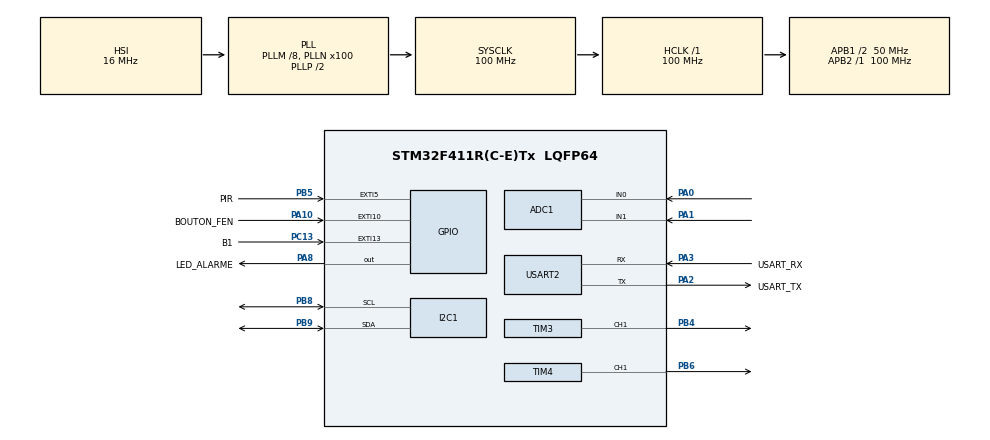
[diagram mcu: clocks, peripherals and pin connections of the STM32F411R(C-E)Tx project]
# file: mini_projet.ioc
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ADC1.Channel-0\#ChannelRegularConversion=ADC_CHANNEL_0
ADC1.Channel-1\#ChannelRegularConversion=ADC_CHANNEL_1
ADC1.NbrOfConversion=2
ADC1.NbrOfConversionFlag=1
ADC1.Rank-0\#ChannelRegularConversion=1
ADC1.Rank-1\#ChannelRegularConversion=2
ADC1.SamplingTime-0\#ChannelRegularConversion=ADC_SAMPLETIME_480CYCLES
ADC1.SamplingTime-1\#ChannelRegularConversion=ADC_SAMPLETIME_480CYCLES
ADC1.master=1
Mcu.Family=STM32F4
Mcu.Name=STM32F411R(C-E)Tx
Mcu.Package=LQFP64
NVIC.EXTI15_10_IRQn=true\:0\:0\:false\:false\:true\:true\:true\:true
NVIC.EXTI9_5_IRQn=true\:0\:0\:false\:false\:true\:true\:true\:true
NVIC.PriorityGroup=NVIC_PRIORITYGROUP_0
NVIC.TIM1_TRG_COM_TIM11_IRQn=true\:0\:0\:false\:false\:true\:true\:true\:true
NVIC.TIM1_UP_TIM10_IRQn=true\:0\:0\:false\:false\:true\:true\:true\:true
PA0-WKUP.Signal=ADCx_IN0
PA1.Signal=ADCx_IN1
PA10.GPIO_Label=BOUTON_FEN
PA10.GPIO_PuPd=GPIO_PULLDOWN
PA10.Signal=GPXTI10
PA13.GPIO_Label=TMS
PA13.Mode=Serial_Wire
PA13.Signal=SYS_JTMS-SWDIO
PA14.GPIO_Label=TCK
PA14.Mode=Serial_Wire
PA14.Signal=SYS_JTCK-SWCLK
PA2.GPIO_Label=USART_TX
PA2.Mode=Asynchronous
PA2.Signal=USART2_TX
PA3.GPIO_Label=USART_RX
PA3.Mode=Asynchronous
PA3.Signal=USART2_RX
PA8.GPIO_Label=LED_ALARME
PA8.Signal=GPIO_Output
PB3.GPIO_Label=SWO
PB3.Signal=SYS_JTDO-SWO
PB4.Signal=S_TIM3_CH1
PB5.GPIO_Label=PIR
PB5.GPIO_ModeDefaultEXTI=GPIO_MODE_IT_RISING
PB5.GPIO_PuPd=GPIO_PULLDOWN
PB5.Signal=GPXTI5
PB6.Signal=S_TIM4_CH1
PB8.GPIO_Pu=GPIO_PULLUP
PB8.Mode=I2C
PB8.Signal=I2C1_SCL
PB9.GPIO_Pu=GPIO_PULLUP
PB9.Mode=I2C
PB9.Signal=I2C1_SDA
PC13-ANTI_TAMP.GPIO_Label=B1
PC13-ANTI_TAMP.GPIO_ModeDefaultEXTI=GPIO_MODE_IT_FALLING
PC13-ANTI_TAMP.Signal=GPXTI13
PC14-OSC32_IN.Signal=RCC_OSC32_IN
PC15-OSC32_OUT.Signal=RCC_OSC32_OUT
PH0\ -\ OSC_IN.Mode=HSE-External-Oscillator
PH0\ -\ OSC_IN.Signal=RCC_OSC_IN
PH1\ -\ OSC_OUT.Mode=HSE-External-Oscillator
PH1\ -\ OSC_OUT.Signal=RCC_OSC_OUT
ProjectManager.HeapSize=0x200
ProjectManager.StackSize=0x400
ProjectManager.TargetToolchain=STM32CubeIDE
RCC.48MHZClocksFreq_Value=50000000
RCC.AHBFreq_Value=100000000
RCC.APB1CLKDivider=RCC_HCLK_DIV2
RCC.APB1Freq_Value=50000000
RCC.APB1TimFreq_Value=100000000
RCC.APB2Freq_Value=100000000
RCC.APB2TimFreq_Value=100000000
RCC.CortexFreq_Value=100000000
RCC.FLatency-AdvancedSettings=FLASH_LATENCY_3
RCC.HCLKFreq_Value=100000000
RCC.HSE_VALUE=8000000
RCC.HSI_VALUE=16000000
RCC.LSE_VALUE=32768
RCC.PLLM=8
RCC.PLLN=100
RCC.SYSCLKFreq_VALUE=100000000
RCC.SYSCLKSource=RCC_SYSCLKSOURCE_PLLCLK
RCC.VCOOutputFreq_Value=200000000
SH.ADCx_IN0.0=ADC1_IN0,IN0
SH.ADCx_IN1.0=ADC1_IN1,IN1
SH.S_TIM3_CH1.0=TIM3_CH1,PWM Generation1 CH1
SH.S_TIM4_CH1.0=TIM4_CH1,PWM Generation1 CH1
TIM10.Period=2499
TIM10.Prescaler=9999
TIM11.Period=29999
TIM11.Prescaler=9999
TIM3.Channel-PWM\ Generation1\ CH1=TIM_CHANNEL_1
TIM3.Period=499
TIM3.Prescaler=99
TIM3.Pulse-PWM\ Generation1\ CH1=250
TIM4.Channel-PWM\ Generation1\ CH1=TIM_CHANNEL_1
TIM4.Period=19999
TIM4.Prescaler=99
TIM4.Pulse-PWM\ Generation1\ CH1=1500
USART2.VirtualMode=VM_ASYNC
VP_TIM10_VS_ClockSourceINT.Mode=Enable_Timer
VP_TIM11_VS_ClockSourceINT.Mode=Enable_Timer
VP_TIM3_VS_ClockSourceINT.Mode=Internal
VP_TIM4_VS_ClockSourceINT.Mode=Internal
board=NUCLEO-F411RE

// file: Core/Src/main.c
/* USER CODE BEGIN Header */
/**
 ******************************************************************************
 * @file           : main.c
 * @brief          : Main program body
 ******************************************************************************
 * @attention
 *
 * Copyright (c) 2026 STMicroelectronics.
 * All rights reserved.
 *
 * This software is licensed under terms that can be found in the LICENSE file
 * in the root directory of this software component.
 * If no LICENSE file comes with this software, it is provided AS-IS.
 *
 ******************************************************************************
 */
/* USER CODE END Header */
#include "main.h"
#include "adc.h"
#include "i2c.h"
#include "tim.h"
#include "usart.h"
#include "gpio.h"

/* USER CODE BEGIN Includes */

#include <string.h>    // pour strlen()
#include <stdio.h>

/* USER CODE END Includes */

/* USER CODE BEGIN PTD */
typedef enum { HOME, AWAY } Mode_t;
/* USER CODE END PTD */

/* USER CODE BEGIN PD */

#define SEUIL_GAZ_ON   1250   // au-dessus, on déclenche l'alarme gaz
#define SEUIL_GAZ_OFF  1050   // en dessous, l'alarme s'arrête

#define SEUIL_PLUIE  2000   // mesuré : environ 100 à sec, plus de 3600 mouillé
#define POS_OUVERTE  1500   // impulsion de 1,5 ms : fenêtre ouverte (trouvée en debug)
#define POS_FERMEE    500   // impulsion de 0,5 ms : fenêtre fermée

#define TMP102_ADR  (0x48 << 1)   // ADD0 est à la masse donc adresse 0x48, décalée d'un bit pour la HAL
#define REG_TEMP    0x00          // registre de température
#define REG_CONFIG  0x01          // registre de configuration

/* USER CODE END PD */

/* USER CODE BEGIN PV */

volatile Mode_t   mode = HOME;          // mode actuel de la maison
volatile uint8_t  boutonAppuye = 0;     // passe à 1 quand on appuie sur B1
volatile uint32_t dernierAppui = 0;     // instant du dernier appui, pour l'anti-rebond
volatile uint8_t mouvement = 0;   // passe à 1 quand le PIR détecte quelqu'un
volatile uint8_t alarme = 0;      // alarme intrusion en cours

volatile uint8_t mesureGaz = 0;   // TIM11 le met à 1 toutes les 3 s
uint16_t valeurGaz = 0;           // valeur brute de l'ADC, de 0 à 4095
volatile uint8_t alarmeGaz = 0;   // alarme gaz en cours

volatile uint8_t boutonFenetre = 0;     // passe à 1 quand on appuie sur le bouton fenêtre
volatile uint32_t dernierAppuiFen = 0;  // même anti-rebond que pour B1
uint16_t valeurPluie = 0;               // valeur brute du capteur de pluie
uint8_t pluie = 0;                      // 1 tant qu'il pleut
uint8_t fenetreOuverte = 0;             // état actuel de la fenêtre

float temperature = 0;            // dernière température lue, en degrés

/* USER CODE END PV */

void SystemClock_Config(void);

/* USER CODE BEGIN 0 */
void envoyer(char *texte)       // envoie un texte au PC par l'UART2
{
	HAL_UART_Transmit(&huart2, (uint8_t*)texte, strlen(texte), 100);
}
/* ouvre la fenêtre : on change juste la largeur d'impulsion du servo */
void ouvrirFenetre(void)
{
	__HAL_TIM_SET_COMPARE(&htim4, TIM_CHANNEL_1, POS_OUVERTE); // écrit la valeur dans CCR1 de TIM4
	fenetreOuverte = 1;
	envoyer("WINDOW OPEN\r\n");
}
/* ferme la fenêtre */
void fermerFenetre(void)
{
	__HAL_TIM_SET_COMPARE(&htim4, TIM_CHANNEL_1, POS_FERMEE);
	fenetreOuverte = 0;
	envoyer("WINDOW CLOSED\r\n");
}

/* Driver du TMP102, écrit à partir de la datasheet TI (SBOS397) */

void tmp102_init(void)            // met le capteur en veille (bit SD à 1) : 0x60A0 devient 0x61A0
{
	uint8_t trame[3] = {REG_CONFIG, 0x61, 0xA0};
	HAL_I2C_Master_Transmit(&hi2c1, TMP102_ADR, trame, 3, 100);
}

void tmp102_mesurer(void)         // demande une seule mesure (bit OS à 1) : 0xE1A0
{
	uint8_t trame[3] = {REG_CONFIG, 0xE1, 0xA0};
	HAL_I2C_Master_Transmit(&hi2c1, TMP102_ADR, trame, 3, 100);
}

int16_t tmp102_lire(void)         // lit les 2 octets du registre de température
{
	uint8_t pointeur = REG_TEMP;
	uint8_t octets[2] = {0, 0};
	HAL_I2C_Master_Transmit(&hi2c1, TMP102_ADR, &pointeur, 1, 100);  // on pointe d'abord sur le registre de température
	HAL_I2C_Master_Receive(&hi2c1, TMP102_ADR, octets, 2, 100);      // puis on lit l'octet de poids fort et celui de poids faible
	return (int16_t)((octets[0] << 8) | octets[1]) >> 4;             // on garde les 12 bits utiles, le signe est conservé
}

float tmp102_convertir(int16_t brut)
{
	return brut * 0.0625f;          // 1 bit = 0,0625 °C ; le f évite un calcul en double
}

/* USER CODE END 0 */

int main(void)
{

	/* MCU Configuration--------------------------------------------------------*/

	/* Reset of all peripherals, Initializes the Flash interface and the Systick. */
	HAL_Init();

	/* Configure the system clock */
	SystemClock_Config();

	/* Initialize all configured peripherals */
	MX_GPIO_Init();
	MX_USART2_UART_Init();
	MX_TIM11_Init();
	MX_TIM3_Init();
	MX_TIM10_Init();
	MX_ADC1_Init();
	MX_TIM4_Init();
	MX_I2C1_Init();
	/* USER CODE BEGIN 2 */

	// TIM11 : une interruption toutes les 3 s pour lancer les mesures
	// (PSC 9999 donne 10 kHz, ARR 29999 donne 30 000 tops, soit 3 s)
	HAL_TIM_Base_Start_IT(&htim11);
	HAL_TIM_Base_Start_IT(&htim10);   // TIM10 : rythme du clignotement de la LED, toutes les 250 ms

	HAL_TIM_PWM_Start(&htim4, TIM_CHANNEL_1);   // la PWM du servo tourne en continu
	fermerFenetre();   // on démarre toujours fenêtre fermée

	if (HAL_I2C_IsDeviceReady(&hi2c1, TMP102_ADR, 3, 100) == HAL_OK)   // on vérifie que le TMP102 répond
		envoyer("TMP102 OK\r\n");
	else
		envoyer("TMP102 absent !\r\n");
	tmp102_init();
	tmp102_mesurer();                 // première mesure, lue au premier passage de TIM11

	envoyer("\r\n=== Smart Home STM32 - Bienvenue ===\r\n");
	envoyer("Mode HOME\r\n");

	/* USER CODE END 2 */

	/* Infinite loop */
	while (1)
	{

		/* USER CODE BEGIN 3 */
		if (boutonAppuye == 1)
		{
			boutonAppuye = 0;

			if (mode == HOME)
			{
				mode = AWAY;
				envoyer("Mode AWAY\r\n");
				if (fenetreOuverte == 1) fermerFenetre();   // en AWAY, la fenêtre doit rester fermée
			}
			else
			{
				mode = HOME;
				alarme = 0;      // le retour en HOME coupe l'alarme intrusion
				if (alarmeGaz == 0)   // buzzer et LED sont communs : on ne les coupe que s'il n'y a pas d'alarme gaz
				{
					HAL_TIM_PWM_Stop(&htim3, TIM_CHANNEL_1);
					HAL_GPIO_WritePin(LED_ALARME_GPIO_Port, LED_ALARME_Pin, GPIO_PIN_RESET);
				}

				envoyer("Mode HOME\r\n");
			}
		}

		if (mouvement == 1)   // le PIR a détecté quelqu'un
		{
			mouvement = 0;

			if (mode == AWAY && alarme == 0)   // l'alarme ne part qu'en AWAY, et une seule fois
			{
				alarme = 1;
				HAL_TIM_PWM_Start(&htim3, TIM_CHANNEL_1);   // le buzzer se met à sonner
				envoyer("INTRUSION\r\n");
			}
		}

		if (boutonFenetre == 1)   // bloqué en AWAY ou s'il pleut, sinon il ouvre ou ferme
		{
			boutonFenetre = 0;
			if (mode == AWAY || pluie == 1)
				envoyer("Fenetre bloquee\r\n");
			else if (fenetreOuverte == 1)
				fermerFenetre();
			else
				ouvrirFenetre();
		}

		if (mesureGaz == 1)   // toutes les 3 s : gaz, pluie et température
		{
			mesureGaz = 0;

			HAL_ADC_Start(&hadc1);
			HAL_ADC_PollForConversion(&hadc1, 10);
			valeurGaz = HAL_ADC_GetValue(&hadc1);     // rang 1 : capteur de gaz
			HAL_ADC_PollForConversion(&hadc1, 10);
			valeurPluie = HAL_ADC_GetValue(&hadc1);   // rang 2 : capteur de pluie
			HAL_ADC_Stop(&hadc1);
			char texte[50];   // texte envoyé sur l'UART
			sprintf(texte, "Gaz = %u  Pluie = %u\r\n", valeurGaz, valeurPluie);
			envoyer(texte);

			if (valeurPluie > SEUIL_PLUIE && pluie == 0)   // il commence à pleuvoir : on ferme
			{
				pluie = 1;
				envoyer("RAIN\r\n");
				if (fenetreOuverte == 1) fermerFenetre();
			}
			else if (valeurPluie < SEUIL_PLUIE && pluie == 1)   // fin de la pluie : on débloque sans rouvrir
			{
				pluie = 0;
				envoyer("Plus de pluie\r\n");
			}

			temperature = tmp102_convertir(tmp102_lire());  // on lit la mesure lancée il y a 3 s
			tmp102_mesurer();                               // et on relance la suivante
			int t10 = (int)(temperature * 10);              // sprintf ne gère pas %f : 23,5 °C devient 235
			sprintf(texte, "Temp = %d.%d C\r\n", t10 / 10, t10 % 10);
			envoyer(texte);

			if (valeurGaz > SEUIL_GAZ_ON && alarmeGaz == 0)   // surveillé dans les deux modes
			{
				alarmeGaz = 1;
				HAL_TIM_PWM_Start(&htim3, TIM_CHANNEL_1);   // même buzzer pour les deux alarmes
				envoyer("GAS ALERT\r\n");
			}
			else if (valeurGaz < SEUIL_GAZ_OFF && alarmeGaz == 1)
			{
				alarmeGaz = 0;
				if (alarme == 0)   // plus aucune alarme : on coupe tout
				{
					HAL_TIM_PWM_Stop(&htim3, TIM_CHANNEL_1);
					HAL_GPIO_WritePin(LED_ALARME_GPIO_Port, LED_ALARME_Pin, GPIO_PIN_RESET);
				}
				envoyer("Gaz normal\r\n");
			}
		}

	}
	/* USER CODE END 3 */
}

void SystemClock_Config(void)
{
	RCC_OscInitTypeDef RCC_OscInitStruct = {0};
	RCC_ClkInitTypeDef RCC_ClkInitStruct = {0};

	/** Configure the main internal regulator output voltage
	 */
	__HAL_RCC_PWR_CLK_ENABLE();
	__HAL_PWR_VOLTAGESCALING_CONFIG(PWR_REGULATOR_VOLTAGE_SCALE1);

	/** Initializes the RCC Oscillators according to the specified parameters
	 * in the RCC_OscInitTypeDef structure.
	 */
	RCC_OscInitStruct.OscillatorType = RCC_OSCILLATORTYPE_HSI;
	RCC_OscInitStruct.HSIState = RCC_HSI_ON;
	RCC_OscInitStruct.HSICalibrationValue = RCC_HSICALIBRATION_DEFAULT;
	RCC_OscInitStruct.PLL.PLLState = RCC_PLL_ON;
	RCC_OscInitStruct.PLL.PLLSource = RCC_PLLSOURCE_HSI;
	RCC_OscInitStruct.PLL.PLLM = 8;
	RCC_OscInitStruct.PLL.PLLN = 100;
	RCC_OscInitStruct.PLL.PLLP = RCC_PLLP_DIV2;
	RCC_OscInitStruct.PLL.PLLQ = 4;
	if (HAL_RCC_OscConfig(&RCC_OscInitStruct) != HAL_OK)
	{
		Error_Handler();
	}

	/** Initializes the CPU, AHB and APB buses clocks
	 */
	RCC_ClkInitStruct.ClockType = RCC_CLOCKTYPE_HCLK|RCC_CLOCKTYPE_SYSCLK
			|RCC_CLOCKTYPE_PCLK1|RCC_CLOCKTYPE_PCLK2;
	RCC_ClkInitStruct.SYSCLKSource = RCC_SYSCLKSOURCE_PLLCLK;
	RCC_ClkInitStruct.AHBCLKDivider = RCC_SYSCLK_DIV1;
	RCC_ClkInitStruct.APB1CLKDivider = RCC_HCLK_DIV2;
	RCC_ClkInitStruct.APB2CLKDivider = RCC_HCLK_DIV1;

	if (HAL_RCC_ClockConfig(&RCC_ClkInitStruct, FLASH_LATENCY_3) != HAL_OK)
	{
		Error_Handler();
	}
}

/* USER CODE BEGIN 4 */

// Appelée par la HAL à chaque débordement de timer. TIM10 et TIM11 passent
// tous les deux par ici, donc on regarde lequel a débordé.
void HAL_TIM_PeriodElapsedCallback(TIM_HandleTypeDef *htim)
{
	if (htim->Instance == TIM11)
	{
		mesureGaz = 1;                // on lève juste le drapeau, la mesure se fait dans la boucle
	}
	else if (htim->Instance == TIM10)
	{
		if (alarme == 1 || alarmeGaz == 1)   // la LED ne clignote que si une alarme est active
			HAL_GPIO_TogglePin(LED_ALARME_GPIO_Port, LED_ALARME_Pin);   // une seule LED pour les deux alarmes
	}
}

void HAL_GPIO_EXTI_Callback(uint16_t GPIO_Pin)   // GPIO_Pin indique quelle broche a déclenché
{
	if (GPIO_Pin == B1_Pin)
	{
		if (HAL_GetTick() - dernierAppui > 200)   // anti-rebond : on ignore un appui à moins de 200 ms du précédent
		{
			dernierAppui = HAL_GetTick();
			boutonAppuye = 1;
		}
	}

	else if (GPIO_Pin == PIR_Pin)
	{
		mouvement = 1;   // on signale le mouvement, le traitement se fait dans la boucle
	}

	else if (GPIO_Pin == BOUTON_FEN_Pin)
	{
		if (HAL_GetTick() - dernierAppuiFen > 200)   // même anti-rebond que pour B1
		{
			dernierAppuiFen = HAL_GetTick();
			boutonFenetre = 1;
		}
	}
}

/* USER CODE END 4 */

void Error_Handler(void)
{
	__disable_irq();
	while (1)
	{
	}
}
